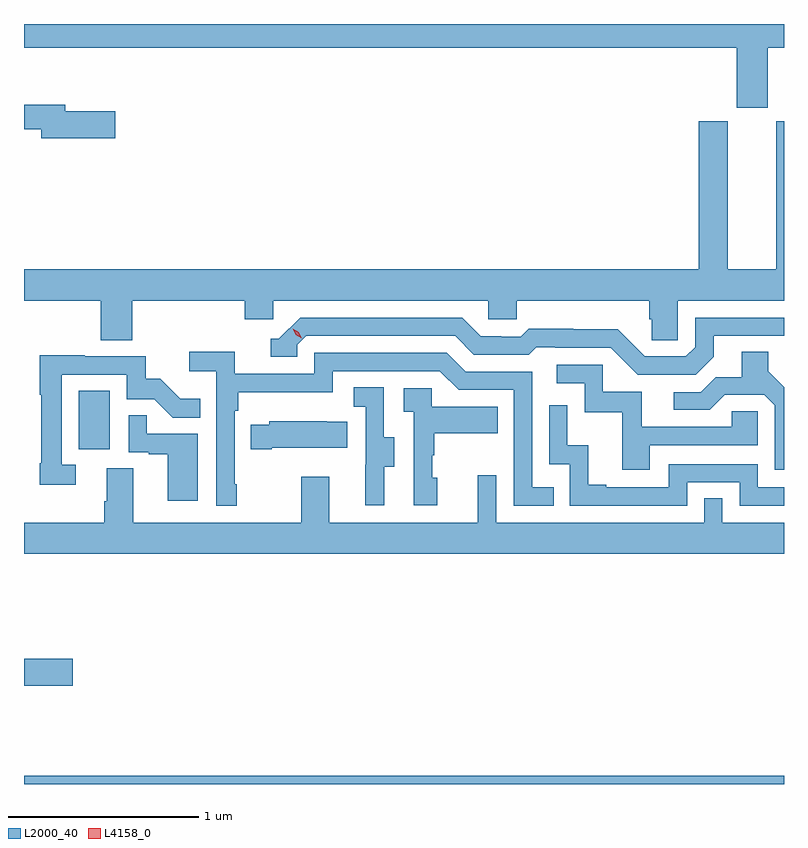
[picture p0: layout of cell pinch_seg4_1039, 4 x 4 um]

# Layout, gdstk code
import gdstk
lib = gdstk.Library(unit=1e-6, precision=1e-09)
def R(c, l, rs):  # rectangles x0, y0, x1, y1
    for r in rs: c.add(gdstk.rectangle(r[:2], r[2:], *l))
def P(c, l, *ps):  # polygons
    for p in ps: c.add(gdstk.Polygon(p, *l))
L2000_40 = (2000, 40)
L4158_0 = (4158, 0)

pinch_seg4_1039 = lib.new_cell('pinch_seg4_1039')
R(pinch_seg4_1039, L2000_40, [(863.444,754.316,867.444,754.36), (863.444,754.834,863.701,754.976), (863.732,756.078,863.896,756.385)])
P(pinch_seg4_1039, L2000_40, [(867.358,758.192),(867.444,758.192),(867.444,758.316),(863.444,758.316),(863.444,758.192),(867.194,758.192),(867.194,757.875),(867.358,757.875)],
  [(863.923,757.857),(863.662,757.857),(863.662,757.891),(863.444,757.891),(863.444,757.762),(863.534,757.762),(863.534,757.715),(863.923,757.715)],
  [(864.014,756.86),(864.605,756.86),(864.605,756.762),(864.756,756.762),(864.756,756.86),(865.887,756.86),(865.887,756.762),(866.037,756.762),(866.037,756.86),(866.735,756.86),(866.735,756.762),(866.749,756.762),(866.749,756.652),(866.886,756.652),(866.886,756.86),(867.444,756.86),(867.444,757.803),(867.404,757.803),(867.404,757.024),(867.148,757.024),(867.148,757.803),(866.996,757.803),(866.996,757.024),(863.444,757.024),(863.444,756.86),(863.849,756.86),(863.849,756.652),(864.014,756.652)],
  [(867.073,756.565),(867.073,756.675),(867.444,756.675),(867.444,756.771),(866.976,756.771),(866.976,756.615),(866.928,756.567),(866.712,756.567),(866.57,756.709),(866.334,756.709),(866.334,756.712),(866.101,756.712),(866.059,756.669),(865.956,756.669),(865.956,756.672),(865.849,756.672),(865.75,756.771),(864.897,756.771),(864.786,756.66),(864.743,756.66),(864.743,756.564),(864.882,756.564),(864.882,756.627),(864.93,756.675),(865.713,756.675),(865.812,756.576),(866.101,756.576),(866.14,756.615),(866.239,756.615),(866.239,756.612),(866.532,756.612),(866.673,756.471),(866.979,756.471)],
  [(864.565,755.893),(864.552,755.893),(864.552,756.281),(864.572,756.281),(864.572,756.377),(865.068,756.377),(865.068,756.489),(865.632,756.489),(865.731,756.39),(866.022,756.39),(866.022,755.781),(866.231,755.781),(866.231,755.877),(866.118,755.877),(866.118,756.486),(865.768,756.486),(865.669,756.585),(864.972,756.585),(864.972,756.474),(864.554,756.474),(864.554,756.59),(864.315,756.59),(864.315,756.488),(864.456,756.488),(864.456,755.781),(864.565,755.781)],
  [(867.444,756.405),(867.361,756.488),(867.361,756.59),(867.221,756.59),(867.221,756.458),(867.086,756.458),(867.006,756.378),(866.865,756.378),(866.865,756.285),(867.052,756.285),(867.133,756.366),(867.339,756.366),(867.396,756.309),(867.396,755.97),(867.444,755.97)],
  [(863.716,755.997),(863.643,755.997),(863.643,756.471),(863.985,756.471),(863.985,756.342),(864.129,756.342),(864.227,756.244),(864.371,756.244),(864.371,756.343),(864.267,756.343),(864.16,756.45),(864.084,756.45),(864.084,756.567),(863.765,756.567),(863.765,756.572),(863.527,756.572),(863.527,756.364),(863.535,756.364),(863.535,756.004),(863.527,756.004),(863.527,755.892),(863.716,755.892)],
  [(866.737,756.099),(867.306,756.099),(867.306,756.279),(867.169,756.279),(867.169,756.195),(866.695,756.195),(866.695,756.381),(866.49,756.381),(866.49,756.522),(866.247,756.522),(866.247,756.426),(866.394,756.426),(866.394,756.273),(866.593,756.273),(866.593,755.97),(866.737,755.97)],
  [(865.339,755.986),(865.393,755.986),(865.393,756.141),(865.338,756.141),(865.338,756.404),(865.179,756.404),(865.179,756.301),(865.242,756.301),(865.242,755.997),(865.241,755.997),(865.241,755.784),(865.339,755.784)],
  [(865.618,755.928),(865.593,755.928),(865.593,756.047),(865.603,756.047),(865.603,756.161),(865.937,756.161),(865.937,756.301),(865.59,756.301),(865.59,756.399),(865.443,756.399),(865.443,756.275),(865.494,756.275),(865.494,755.784),(865.618,755.784)],
  [(866.934,755.904),(867.21,755.904),(867.21,755.781),(867.444,755.781),(867.444,755.877),(867.306,755.877),(867.306,756),(866.838,756),(866.838,755.877),(866.509,755.877),(866.509,755.89),(866.414,755.89),(866.414,756.098),(866.304,756.098),(866.304,756.31),(866.208,756.31),(866.208,756),(866.316,756),(866.316,755.781),(866.934,755.781)],
  [(864.358,756.159),(864.089,756.159),(864.089,756.257),(863.994,756.257),(863.994,756.063),(864.101,756.063),(864.101,756.051),(864.2,756.051),(864.2,755.808),(864.358,755.808)],
  [(864.748,756.086),(865.145,756.086),(865.145,756.223),(865.037,756.223),(865.037,756.226),(864.735,756.226),(864.735,756.208),(864.637,756.208),(864.637,756.079),(864.748,756.079)],
  [(867.444,755.692),(867.12,755.692),(867.12,755.819),(867.024,755.819),(867.024,755.692),(865.929,755.692),(865.929,755.941),(865.832,755.941),(865.832,755.692),(865.051,755.692),(865.051,755.932),(864.904,755.932),(864.904,755.692),(864.019,755.692),(864.019,755.978),(863.879,755.978),(863.879,755.804),(863.867,755.804),(863.867,755.692),(863.444,755.692),(863.444,755.528),(867.444,755.528)])
P(pinch_seg4_1039, L4158_0, [(864.906,756.662),(864.875,756.681),(864.859,756.713),(864.859,756.713),(864.859,756.713),(864.89,756.694),(864.907,756.662),(864.907,756.662)])

lib.write_gds('pinch_seg4_1039.gds')
